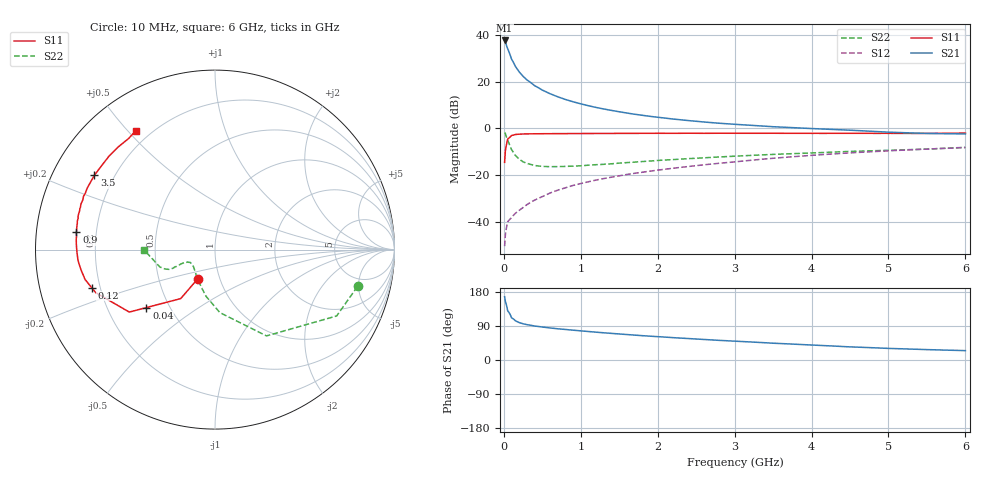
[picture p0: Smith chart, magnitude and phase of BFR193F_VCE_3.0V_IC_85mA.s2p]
! Infineon Technologies  Discrete & RF Semiconductors
! BFR193F
! VCE =  3.0 V,  IC =  85 mA
! Common Emitter S-Parameters:  Jan 2017
# GHz  S  MA  R  50
!  f  S11  S21  S12  S22
! GHz  MAG  ANG  MAG  ANG  MAG  ANG  MAG  ANG
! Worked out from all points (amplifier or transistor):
!   77 points, 10 MHz to 6 GHz, reference 50 ohm
!   highest |S21| = 37.7 dB at 10 MHz (marker M1)
!   |S21| within 3 dB of that: start of sweep to 43.68 MHz
!   unconditionally stable (mu >= 1): 417.3 MHz to 2.749 GHz
!   at 130 MHz: K = 0.68, MSG = 32.5 dB, |S12| = -37.1 dB
!   at 2.2 GHz: K = 1.04, MAG = 9.4 dB, |S12| = -17.0 dB
!   at 6 GHz: K = 0.89, MSG = 2.9 dB, |S12| = -8.2 dB
!   S11 on the Smith chart (normalised r, x): 10 MHz: 0.79, -0.26; 40 MHz: 0.37, -0.32; 120 MHz: 0.17, -0.15; 900 MHz: 0.13, +0.06; 3.5 GHz: 0.13, +0.28; 6 GHz: 0.15, +0.53
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0.01  0.188 -120.5  76.97 167.0  0.003 74.0  0.8201 -14.5
0.02  0.3333 -125.0  71.55 154.4  0.0053 73.4  0.7721 -28.6
0.04  0.5003 -139.8  56.58 139.8  0.0084 60.2  0.6091 -46.8
0.05  0.5909 -143.9  51.06 129.6  0.01 56.7  0.5599 -59.2
0.1  0.706 -160.1  30.72 111.3  0.0123 51.7  0.3519 -85.6
0.12  0.7194 -162.9  26.94 108.8  0.0135 53.1  0.3146 -90.7
0.15  0.7426 -167.0  21.41 103.5  0.0152 54.8  0.2648 -100.9
0.2  0.7536 -171.0  16.28 98.7  0.0176 58.7  0.22 -110.8
0.25  0.7611 -173.8  13.11 95.6  0.0202 62.0  0.1927 -119.5
0.3  0.766 -175.7  11 93.3  0.0233 65.5  0.1788 -125.5
0.4  0.7688 -178.7  8.275 89.6  0.0291 69.3  0.161 -134.8
0.5  0.7712 179.3  6.647 87.0  0.0346 71.9  0.1537 -140.8
0.7  0.7752 175.7  4.781 82.4  0.0475 74.3  0.1522 -148.2
0.9  0.7784 172.9  3.735 78.7  0.0601 75.6  0.1559 -152.7
1.1  0.7803 170.6  3.07 75.2  0.072 76.2  0.1634 -154.3
1.5  0.7854 166.2  2.278 68.7  0.0966 76.7  0.1809 -156.5
2.1  0.7878 160.5  1.665 60.4  0.1341 75.6  0.2107 -157.0
3.1  0.7888 151.9  1.2 48.7  0.1996 72.9  0.2592 -156.2
3.5  0.7894 148.3  1.09 44.3  0.2297 71.4  0.2782 -156.7
4.1  0.7857 142.6  0.98 38.6  0.272 67.9  0.3029 -159.5
5.1  0.7851 132.3  0.823 30.0  0.3374 61.2  0.3444 -169.5
6  0.7955 123.7  0.763 24.7  0.3895 55.0  0.3939 -179.3
